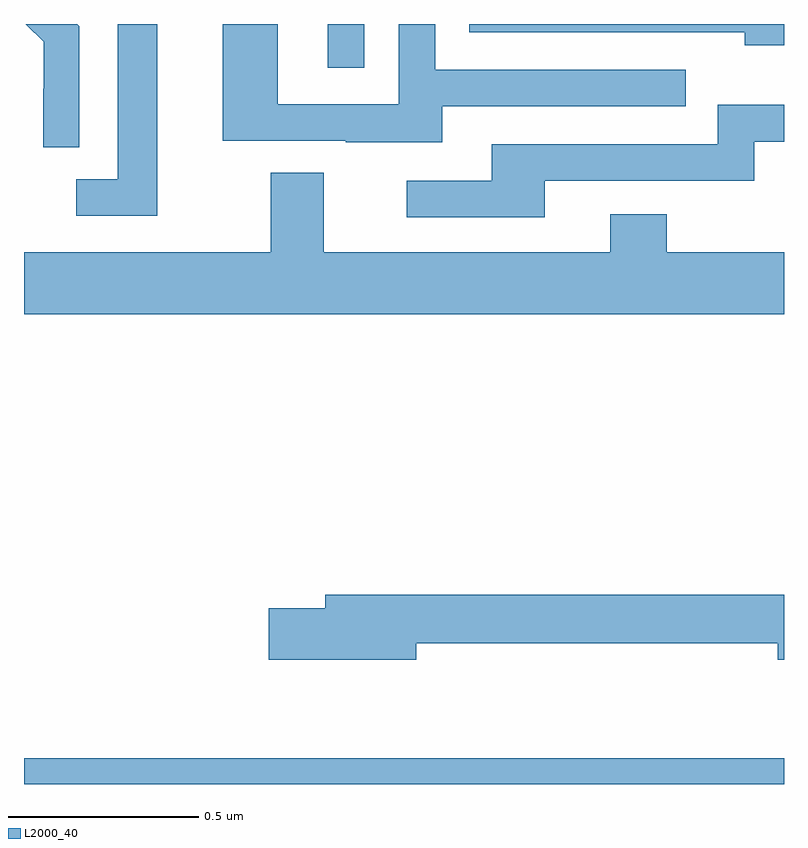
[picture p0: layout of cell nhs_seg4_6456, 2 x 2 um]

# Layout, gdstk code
import gdstk
lib = gdstk.Library(unit=1e-6, precision=1e-09)
def R(c, l, rs):  # rectangles x0, y0, x1, y1
    for r in rs: c.add(gdstk.rectangle(r[:2], r[2:], *l))
def P(c, l, *ps):  # polygons
    for p in ps: c.add(gdstk.Polygon(p, *l))
L2000_40 = (2000, 40)

nhs_seg4_6456 = lib.new_cell('nhs_seg4_6456')
R(nhs_seg4_6456, L2000_40, [(190,812.9,192,812.968), (190.799,814.785,190.896,814.9)])
P(nhs_seg4_6456, L2000_40, [(190.351,814.9),(190.247,814.9),(190.247,814.491),(190.137,814.491),(190.137,814.395),(190.351,814.395)],
  [(190.146,814.894),(190.14,814.9),(190.004,814.9),(190.052,814.853),(190.052,814.73),(190.05,814.73),(190.05,814.576),(190.146,814.576)],
  [(192,814.9),(191.172,814.9),(191.172,814.878),(191.897,814.878),(191.897,814.844),(192,814.844)],
  [(191.101,814.683),(191.741,814.683),(191.741,814.779),(191.082,814.779),(191.082,814.9),(190.986,814.9),(190.986,814.689),(190.668,814.689),(190.668,814.9),(190.523,814.9),(190.523,814.593),(190.847,814.593),(190.847,814.589),(191.101,814.589)],
  [(191.371,814.488),(191.922,814.488),(191.922,814.59),(192,814.59),(192,814.687),(191.826,814.687),(191.826,814.584),(191.231,814.584),(191.231,814.488),(191.007,814.488),(191.007,814.392),(191.371,814.392)],
  [(191.543,814.399),(191.543,814.3),(190.789,814.3),(190.789,814.508),(190.649,814.508),(190.649,814.3),(190,814.3),(190,814.136),(192,814.136),(192,814.3),(191.691,814.3),(191.691,814.399)],
  [(191.032,813.27),(191.984,813.27),(191.984,813.227),(192,813.227),(192,813.398),(190.793,813.398),(190.793,813.362),(190.644,813.362),(190.644,813.227),(191.032,813.227)])

lib.write_gds('nhs_seg4_6456.gds')
